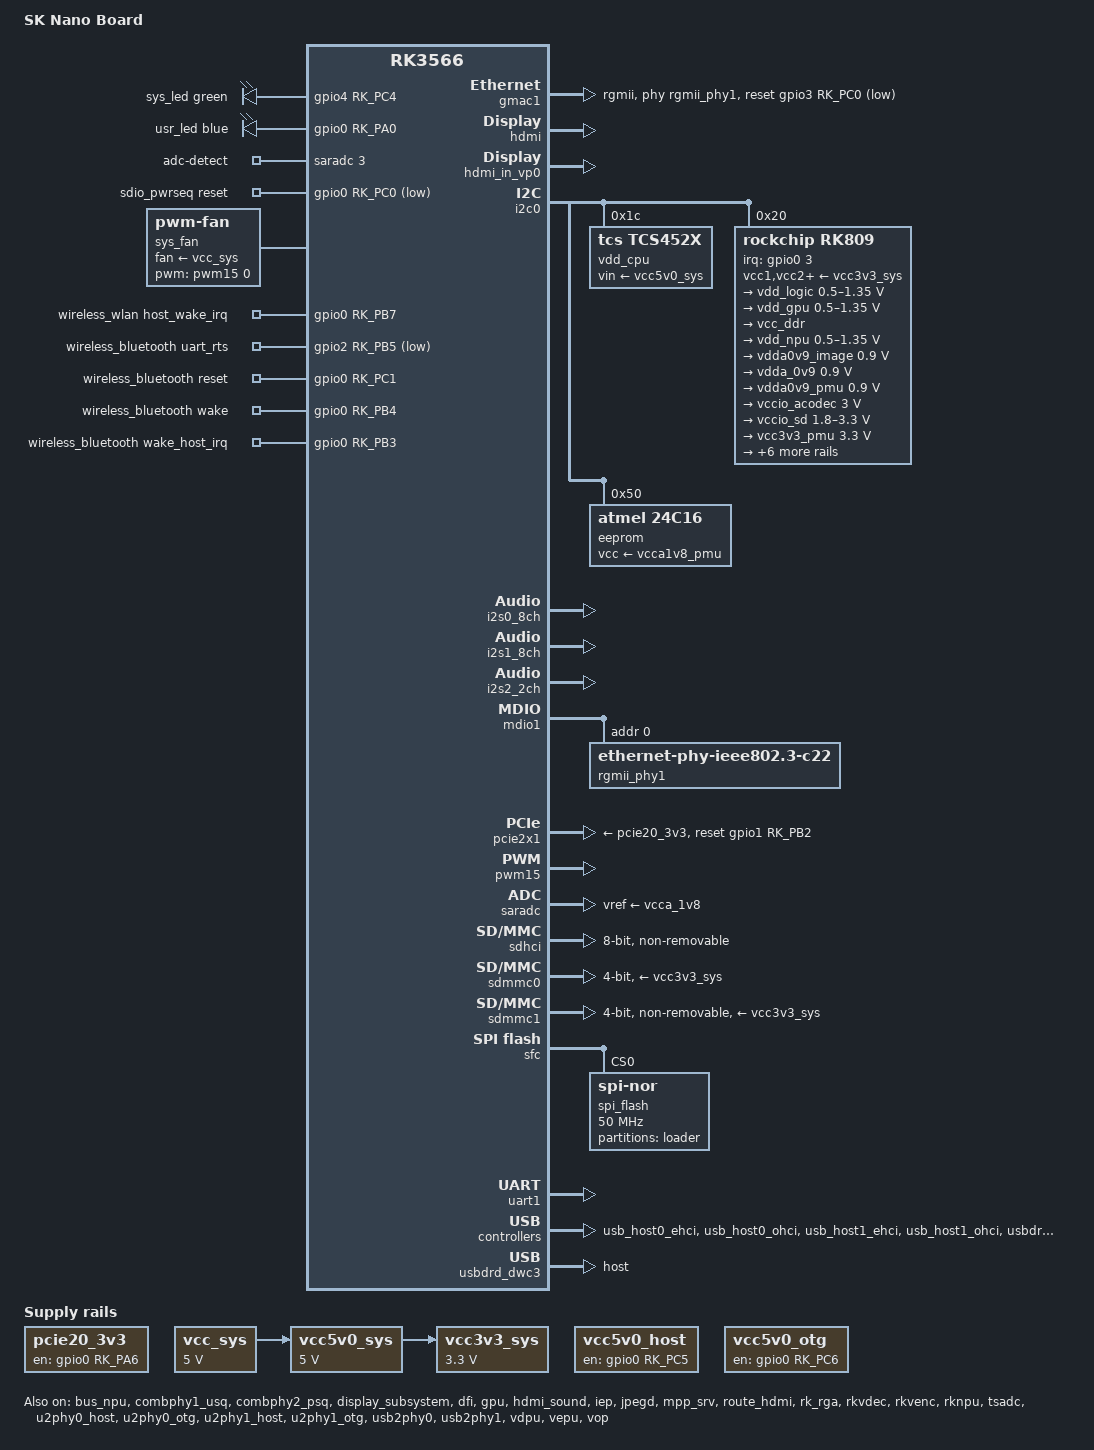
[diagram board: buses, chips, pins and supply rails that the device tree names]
// SPDX-License-Identifier: (GPL-2.0+ OR MIT)
/*
 * Copyright (c) 2020 Rockchip Electronics Co., Ltd.
 * Copyright (c) 2022 Radxa Limited.
 * Copyright (c) 2025 Sergey Kharenko
 */

/dts-v1/;
#include <dt-bindings/gpio/gpio.h>
#include <dt-bindings/pwm/pwm.h>
#include <dt-bindings/pinctrl/rockchip.h>
#include <dt-bindings/input/rk-input.h>
#include <dt-bindings/leds/common.h>
#include <dt-bindings/display/drm_mipi_dsi.h>
#include <dt-bindings/display/rockchip_vop.h>
#include <dt-bindings/sensor-dev.h>
#include "rk3566.dtsi"
#include "rk3568-linux.dtsi"

/ {
	model = "SK Nano Board";
	compatible = "sk,nano", "rockchip,rk3566";

	bt_sound: bt-sound {
        compatible = "simple-audio-card";
        simple-audio-card,format = "dsp_a";
        simple-audio-card,bitclock-inversion = <1>;
        simple-audio-card,mclk-fs = <256>;
        simple-audio-card,name = "rockchip,bt";
        simple-audio-card,cpu {
            sound-dai = <&i2s2_2ch>;
        };

        simple-audio-card,codec {
            sound-dai = <&bt_sco 1>;
        };
    };

    bt_sco: bt-sco {
        compatible = "linux,bt-sco";
        #sound-dai-cells = <1>;
        status = "okay";
    };

	chosen: chosen {
		bootargs = "earlycon=uart8250,mmio32,0xfe660000 console=ttyFIQ0 coherent_pool=1m irqchip.gicv3_pseudo_nmi=0";
	};

	gpio_leds: gpio-leds {
        status = "okay";
		compatible = "gpio-leds";

		sys_led: sys-led {
			gpios = <&gpio4 RK_PC4 GPIO_ACTIVE_HIGH>;
			function = LED_FUNCTION_HEARTBEAT;
			color = <LED_COLOR_ID_GREEN>;
			linux,default-trigger = "heartbeat";
			pinctrl-names = "default";
			pinctrl-0 = <&power_led>;
		};

		usr_led: usr-led {
			gpios = <&gpio0 RK_PA0 GPIO_ACTIVE_HIGH>;
			function = LED_FUNCTION_WLAN;
			color = <LED_COLOR_ID_BLUE>;
			linux,default-trigger = "mmc2";
			pinctrl-names = "default";
			pinctrl-0 = <&user_led2>;
		};
	};

	pcie20_3v3: pcie20-3v3-regulator {
		compatible = "regulator-fixed";
		enable-active-high;
		gpios = <&gpio0 RK_PA6 GPIO_ACTIVE_HIGH>;
		pinctrl-names = "default";
		pinctrl-0 = <&pcie20_3v3_en>;
		regulator-name = "pcie20_3v3";
		regulator-always-on;
		regulator-boot-on;
	};

	rk809_sound: rk809-sound {
		status = "okay";
		compatible = "simple-audio-card";
		simple-audio-card,format = "i2s";
		simple-audio-card,name = "rockchip-rk809";
		simple-audio-card,mclk-fs = <256>;
		io-channels = <&saradc 3>;
		io-channel-names = "adc-detect";

		simple-audio-card,cpu {
			sound-dai = <&i2s1_8ch>;
		};
		simple-audio-card,codec {
			sound-dai = <&rk809_codec>;
		};
	};

	sdio_pwrseq: sdio-pwrseq {
		compatible = "mmc-pwrseq-simple";
		pinctrl-names = "default";
		pinctrl-0 = <&wifi_poweren_gpio>;
		/*
		 * On the module itself this is one of these (depending
		 * on the actual card populated):
		 * - SDIO_RESET_L_WL_REG_ON
		 * - PDN (power down when low)
		 */
		reset-gpios = <&gpio0 RK_PC0 GPIO_ACTIVE_LOW>;
	};

	sys_fan: sys-fan {
		compatible = "pwm-fan";
		#cooling-cells = <2>;
		fan-supply = <&vcc_sys>;
		cooling-levels = <0 64 128 192 255>;
		pwms = <&pwm15 0 40000 0>;
	};

	vcc_sys: vcc-5v {
		compatible = "regulator-fixed";
		regulator-name = "vcc_sys";
		regulator-always-on;
		regulator-boot-on;
		regulator-min-microvolt = <5000000>;
		regulator-max-microvolt = <5000000>;
	};

	vcc3v3_sys: vcc3v3-sys {
		compatible = "regulator-fixed";
		regulator-name = "vcc3v3_sys";
		regulator-always-on;
		regulator-boot-on;
		regulator-min-microvolt = <3300000>;
		regulator-max-microvolt = <3300000>;
		vin-supply = <&vcc5v0_sys>;
	};

	vcc5v0_sys: vcc5v0-sys {
		compatible = "regulator-fixed";
		regulator-name = "vcc5v0_sys";
		regulator-always-on;
		regulator-boot-on;
		regulator-min-microvolt = <5000000>;
		regulator-max-microvolt = <5000000>;
		vin-supply = <&vcc_sys>;
	};

	vcc5v0_host: vcc5v0-host-regulator {
		compatible = "regulator-fixed";
		enable-active-high;
		gpio = <&gpio0 RK_PC5 GPIO_ACTIVE_HIGH>;
		pinctrl-names = "default";
		pinctrl-0 = <&vcc5v0_host_en>;
		regulator-name = "vcc5v0_host";
		regulator-always-on;
		regulator-boot-on;
	};

	vcc5v0_otg: vcc5v0-otg-regulator {
		compatible = "regulator-fixed";
		enable-active-high;
		gpio = <&gpio0 RK_PC6 GPIO_ACTIVE_HIGH>;
		pinctrl-names = "default";
		pinctrl-0 = <&vcc5v0_otg_en>;
		regulator-name = "vcc5v0_otg";
	};

	wireless_wlan: wireless-wlan {
		compatible = "wlan-platdata";
		clocks = <&rk809 1>;
		clock-names = "ext_clock";
		rockchip,grf = <&grf>;
		pinctrl-names = "default";
		pinctrl-0 = <&wifi_host_wake_irq>;
        WIFI,host_wake_irq = <&gpio0 RK_PB7 GPIO_ACTIVE_HIGH>;
		status = "okay";
	};

	wireless_bluetooth: wireless-bluetooth {
		compatible = "bluetooth-platdata";
		clocks = <&rk809 1>;
		clock-names = "ext_clock";
		uart_rts_gpios = <&gpio2 RK_PB5 GPIO_ACTIVE_LOW>;
		pinctrl-names = "default", "rts_gpio";
		pinctrl-0 = <&uart1m0_rtsn>, <&bt_gpio>;
		pinctrl-1 = <&uart1_gpios>;
		BT,reset_gpio    = <&gpio0 RK_PC1 GPIO_ACTIVE_HIGH>;
		BT,wake_gpio     = <&gpio0 RK_PB4 GPIO_ACTIVE_HIGH>;
		BT,wake_host_irq = <&gpio0 RK_PB3 GPIO_ACTIVE_HIGH>;
		status = "okay";
	};
};

&bus_npu {
	bus-supply = <&vdd_logic>;
	pvtm-supply = <&vdd_cpu>;
	status = "okay";
};

&combphy1_usq {
	status = "okay";
};

&combphy2_psq {
	status = "okay";
};

&cpu0 {
	cpu-supply = <&vdd_cpu>;
};

&cpu1 {
	cpu-supply = <&vdd_cpu>;
};

&cpu2 {
	cpu-supply = <&vdd_cpu>;
};

&cpu3 {
	cpu-supply = <&vdd_cpu>;
};

&display_subsystem {
	status = "okay";
};

&dfi {
	status = "okay";
};

&dmc {
	center-supply = <&vdd_logic>;
	status = "disabled";
};

&gmac1 {
	phy-mode = "rgmii";
	clock_in_out = "output";

	snps,reset-gpio = <&gpio3 RK_PC0 GPIO_ACTIVE_LOW>;
	snps,reset-active-low;
	/* Reset time is 20ms, 100ms for rtl8211f */
	snps,reset-delays-us = <0 20000 100000>;

	assigned-clocks = <&cru SCLK_GMAC1_RX_TX>, <&cru SCLK_GMAC1>;
	assigned-clock-parents = <&cru SCLK_GMAC1_RGMII_SPEED>;
	assigned-clock-rates = <0>, <125000000>;

	pinctrl-names = "default";
	pinctrl-0 = <&gmac1m1_miim
		     &gmac1m1_tx_bus2
		     &gmac1m1_rx_bus2
		     &gmac1m1_rgmii_clk
		     &gmac1m1_rgmii_bus>;

	tx_delay = <0x47>;
	rx_delay = <0x27>;

	phy-handle = <&rgmii_phy1>;
	status = "okay";
};

&gpu {
	mali-supply = <&vdd_gpu>;
	mem-supply = <&vdd_gpu>;
	status = "okay";
};

&hdmi {
	avdd-0v9-supply = <&vdda0v9_image>;
	avdd-1v8-supply = <&vcca1v8_image>;
	cec-enable = "true";
	status = "okay";
};

&hdmi_in_vp0 {
	status = "okay";
};

&hdmi_in_vp1 {
	status = "disabled";
};

&hdmi_sound {
	simple-audio-card,mclk-fs = <128>;
	simple-audio-card,name = "rockchip-hdmi";
	status = "okay";
};

&i2c0 {
	status = "okay";
	vdd_cpu: tcs4525@1c {
		compatible = "tcs,tcs452x";
		reg = <0x1c>;
		vin-supply = <&vcc5v0_sys>;
		regulator-compatible = "fan53555-reg";
		regulator-name = "vdd_cpu";
		regulator-min-microvolt = <712500>;
		regulator-max-microvolt = <1390000>;
		regulator-init-microvolt = <1000000>;
		regulator-ramp-delay = <2300>;
		fcs,suspend-voltage-selector = <1>;
		regulator-boot-on;
		regulator-always-on;
		regulator-state-mem {
			regulator-off-in-suspend;
		};
	};

	rk809: pmic@20 {
		compatible = "rockchip,rk809";
		reg = <0x20>;
		interrupt-parent = <&gpio0>;
		interrupts = <3 IRQ_TYPE_LEVEL_LOW>;

		pinctrl-names = "default", "pmic-sleep",
				"pmic-power-off", "pmic-reset";
		pinctrl-0 = <&pmic_int>;
		pinctrl-1 = <&soc_slppin_slp>, <&rk817_slppin_slp>;
		pinctrl-2 = <&soc_slppin_gpio>, <&rk817_slppin_pwrdn>;
		pinctrl-3 = <&soc_slppin_gpio>, <&rk817_slppin_rst>;

		rockchip,system-power-controller;
		wakeup-source;
		#clock-cells = <1>;
		clock-output-names = "rk808-clkout1", "rk808-clkout2";
		//fb-inner-reg-idxs = <2>;
		/* 1: rst regs (default in codes), 0: rst the pmic */
		pmic-reset-func = <0>;
		/* not save the PMIC_POWER_EN register in uboot */
		not-save-power-en = <1>;

		vcc1-supply = <&vcc3v3_sys>;
		vcc2-supply = <&vcc3v3_sys>;
		vcc3-supply = <&vcc3v3_sys>;
		vcc4-supply = <&vcc3v3_sys>;
		vcc5-supply = <&vcc3v3_sys>;
		vcc6-supply = <&vcc3v3_sys>;
		vcc7-supply = <&vcc3v3_sys>;
		vcc8-supply = <&vcc3v3_sys>;
		vcc9-supply = <&vcc3v3_sys>;

		pwrkey {
			status = "okay";
		};

		pinctrl_rk8xx: pinctrl_rk8xx {
			gpio-controller;
			#gpio-cells = <2>;

			rk817_slppin_null: rk817_slppin_null {
				pins = "gpio_slp";
				function = "pin_fun0";
			};

			rk817_slppin_slp: rk817_slppin_slp {
				pins = "gpio_slp";
				function = "pin_fun1";
			};

			rk817_slppin_pwrdn: rk817_slppin_pwrdn {
				pins = "gpio_slp";
				function = "pin_fun2";
			};

			rk817_slppin_rst: rk817_slppin_rst {
				pins = "gpio_slp";
				function = "pin_fun3";
			};
		};

		regulators {
			vdd_logic: DCDC_REG1 {
				regulator-always-on;
				regulator-boot-on;
				regulator-min-microvolt = <500000>;
				regulator-max-microvolt = <1350000>;
				regulator-init-microvolt = <900000>;
				regulator-ramp-delay = <6001>;
				regulator-initial-mode = <0x2>;
				regulator-name = "vdd_logic";
				regulator-state-mem {
					regulator-off-in-suspend;
				};
			};

			vdd_gpu: DCDC_REG2 {
				regulator-always-on;
				regulator-boot-on;
				regulator-min-microvolt = <500000>;
				regulator-max-microvolt = <1350000>;
				regulator-init-microvolt = <900000>;
				regulator-ramp-delay = <6001>;
				regulator-initial-mode = <0x2>;
				regulator-name = "vdd_gpu";
				regulator-state-mem {
					regulator-off-in-suspend;
				};
			};

			vcc_ddr: DCDC_REG3 {
				regulator-always-on;
				regulator-boot-on;
				regulator-initial-mode = <0x2>;
				regulator-name = "vcc_ddr";
				regulator-state-mem {
					regulator-on-in-suspend;
				};
			};

			vdd_npu: DCDC_REG4 {
				regulator-always-on;
				regulator-boot-on;
				regulator-min-microvolt = <500000>;
				regulator-max-microvolt = <1350000>;
				regulator-init-microvolt = <900000>;
				regulator-ramp-delay = <6001>;
				regulator-initial-mode = <0x2>;
				regulator-name = "vdd_npu";
				regulator-state-mem {
					regulator-off-in-suspend;
				};
			};

			vdda0v9_image: LDO_REG1 {
				regulator-boot-on;
				regulator-always-on;
				regulator-min-microvolt = <900000>;
				regulator-max-microvolt = <900000>;
				regulator-name = "vdda0v9_image";
				regulator-state-mem {
					regulator-off-in-suspend;
				};
			};

			vdda_0v9: LDO_REG2 {
				regulator-always-on;
				regulator-boot-on;
				regulator-min-microvolt = <900000>;
				regulator-max-microvolt = <900000>;
				regulator-name = "vdda_0v9";
				regulator-state-mem {
					regulator-off-in-suspend;
				};
			};

			vdda0v9_pmu: LDO_REG3 {
				regulator-always-on;
				regulator-boot-on;
				regulator-min-microvolt = <900000>;
				regulator-max-microvolt = <900000>;
				regulator-name = "vdda0v9_pmu";
				regulator-state-mem {
					regulator-on-in-suspend;
					regulator-suspend-microvolt = <900000>;
				};
			};

			vccio_acodec: LDO_REG4 {
				regulator-always-on;
				regulator-boot-on;
				regulator-min-microvolt = <3000000>;
				regulator-max-microvolt = <3000000>;
				regulator-name = "vccio_acodec";
				regulator-state-mem {
					regulator-off-in-suspend;
				};
			};

			vccio_sd: LDO_REG5 {
				regulator-always-on;
				regulator-boot-on;
				regulator-min-microvolt = <1800000>;
				regulator-max-microvolt = <3300000>;
				regulator-name = "vccio_sd";
				regulator-state-mem {
					regulator-off-in-suspend;
				};
			};

			vcc3v3_pmu: LDO_REG6 {
				regulator-always-on;
				regulator-boot-on;
				regulator-min-microvolt = <3300000>;
				regulator-max-microvolt = <3300000>;
				regulator-name = "vcc3v3_pmu";
				regulator-state-mem {
					regulator-on-in-suspend;
					regulator-suspend-microvolt = <3300000>;
				};
			};

			vcca_1v8: LDO_REG7 {
				regulator-always-on;
				regulator-boot-on;
				regulator-min-microvolt = <1800000>;
				regulator-max-microvolt = <1800000>;
				regulator-name = "vcca_1v8";
				regulator-state-mem {
					regulator-off-in-suspend;
				};
			};

			vcca1v8_pmu: LDO_REG8 {
				regulator-always-on;
				regulator-boot-on;
				regulator-min-microvolt = <1800000>;
				regulator-max-microvolt = <1800000>;
				regulator-name = "vcca1v8_pmu";
				regulator-state-mem {
					regulator-on-in-suspend;
					regulator-suspend-microvolt = <1800000>;
				};
			};

			vcca1v8_image: LDO_REG9 {
				regulator-always-on;
				regulator-boot-on;
				regulator-min-microvolt = <1800000>;
				regulator-max-microvolt = <1800000>;
				regulator-name = "vcca1v8_image";
				regulator-state-mem {
					regulator-off-in-suspend;
				};
			};

			vcc_1v8: DCDC_REG5 {
				regulator-always-on;
				regulator-boot-on;
				regulator-min-microvolt = <1800000>;
				regulator-max-microvolt = <1800000>;
				regulator-name = "vcc_1v8";
				regulator-state-mem {
					regulator-off-in-suspend;
				};
			};

			vcc_3v3: SWITCH_REG1 {
				regulator-always-on;
				regulator-boot-on;
				regulator-name = "vcc_3v3";
				regulator-state-mem {
					regulator-off-in-suspend;
				};
			};

			vcc3v3_sd: SWITCH_REG2 {
				regulator-always-on;
				regulator-boot-on;
				regulator-name = "vcc3v3_sd";
				regulator-state-mem {
					regulator-off-in-suspend;
				};
			};
		};

		rk809_codec: codec {
			#sound-dai-cells = <0>;
			compatible = "rockchip,rk809-codec", "rockchip,rk817-codec";
			clocks = <&cru I2S1_MCLKOUT>;
			clock-names = "mclk";
			assigned-clocks = <&cru I2S1_MCLKOUT>, <&cru I2S1_MCLK_TX_IOE>;
			assigned-clock-rates = <12288000>;
			assigned-clock-parents = <&cru I2S1_MCLKOUT_TX>, <&cru I2S1_MCLKOUT_TX>;
			pinctrl-names = "default";
			pinctrl-0 = <&i2s1m0_mclk>;
			hp-volume = <20>;
			spk-volume = <3>;
			mic-in-differential;
			status = "okay";
		};
	};

	eeprom:	at24c16@50 {
		status = "okay";
		compatible = "atmel,24c16";
		reg = <0x50>;
		pagesize = <16>;
		vcc-supply = <&vcca1v8_pmu>;
	};
};

dsi_i2c: &i2c3 {
	pinctrl-0 = <&i2c3m1_xfer>;
};

&i2s0_8ch {
	status = "okay";
};

&i2s1_8ch {
	status = "okay";
	rockchip,clk-trcm = <1>;
	pinctrl-names = "default";
	pinctrl-0 = <&i2s1m0_sclktx
		     &i2s1m0_lrcktx
		     &i2s1m0_sdi0
		     &i2s1m0_sdo0>;
};

&i2s2_2ch {
	status = "okay";
};

&iep {
	status = "okay";
};

&iep_mmu {
	status = "okay";
};

&jpegd {
	status = "okay";
};

&jpegd_mmu {
	status = "okay";
};

&lpddr4_params {
	freq_0 = <1056>;
};

&lpddr4x_params {
	freq_0 = <1056>;
};

&mdio1 {
	rgmii_phy1: phy@0 {
		compatible = "ethernet-phy-ieee802.3-c22";
		reg = <0x0>;
	};
};

&mpp_srv {
	status = "okay";
};

&pcie2x1 {
	reset-gpios = <&gpio1 RK_PB2 GPIO_ACTIVE_HIGH>;
	vpcie3v3-supply = <&pcie20_3v3>;
	pinctrl-0 = <&pcie20m2_pins>;
	status = "okay";
};

&pipegrf {
	compatible = "rockchip,rk3566-pipe-grf", "syscon";
};

&pmu_io_domains {
	status = "okay";
	pmuio2-supply = <&vcca1v8_pmu>;
	vccio1-supply = <&vccio_acodec>;
	vccio3-supply = <&vccio_sd>;
	vccio4-supply = <&vcca1v8_pmu>;
	vccio5-supply = <&vcc_3v3>;
	vccio6-supply = <&vcc_3v3>;
	vccio7-supply = <&vcc_3v3>;
};

&power {
	power-domain@RK3568_PD_PIPE {
		reg = <RK3568_PD_PIPE>;
		clocks = <&cru PCLK_PIPE>;
		pm_qos = <&qos_pcie2x1>,
			 <&qos_sata1>,
			 <&qos_sata2>,
			 <&qos_usb3_0>,
			 <&qos_usb3_1>;
		#power-domain-cells = <0>;
	};
};

&pwm15 {
	pinctrl-0 = <&pwm15m0_pins>;
	status = "okay";
};

&rkcif {
	status = "disabled";
};

&rkcif_mmu {
	status = "disabled";
};

&rkisp {
	status = "disabled";
	rockchip,iq-feature = /bits/ 64 <0x1BFBF7FE67FF>;
};

&rkisp_mmu {
	status = "disabled";
};

&route_hdmi {
	connect = <&vp0_out_hdmi>;
	status = "okay";
};

&rk_rga {
	status = "okay";
};

&rkvdec {
	status = "okay";
};

&rkvdec_mmu {
	status = "okay";
};

&rkvenc {
	venc-supply = <&vdd_logic>;
	status = "okay";
};

&rkvenc_mmu {
	status = "okay";
};

&rknpu {
	rknpu-supply = <&vdd_npu>;
	mem-supply = <&vdd_npu>;
	status = "okay";
};

&rknpu_mmu {
	status = "okay";
};

&rockchip_suspend {
	status = "okay";
	rockchip,sleep-debug-en = <1>;
	rockchip,sleep-mode-config = <
		(0
		| RKPM_SLP_CENTER_OFF
		| RKPM_SLP_HW_PLLS_OFF
		| RKPM_SLP_PMUALIVE_32K
		| RKPM_SLP_32K_PVTM
		)
	>;
	rockchip,wakeup-config = <
		(0
		| RKPM_GPIO_WKUP_EN
		| RKPM_USB_WKUP_EN
		)
	>;
};

&saradc {
	status = "okay";
	vref-supply = <&vcca_1v8>;
};

&sdhci {
	bus-width = <8>;
	supports-emmc;
	non-removable;
	max-frequency = <200000000>;
};

&sdmmc0 {
	max-frequency = <150000000>;
	supports-sd;
	no-sdio;
	no-mmc;
	bus-width = <4>;
	cap-mmc-highspeed;
	cap-sd-highspeed;
	disable-wp;
	num-slots = <1>;
	sd-uhs-sdr104;
	vmmc-supply = <&vcc3v3_sys>;
	vqmmc-supply = <&vccio_sd>;
	pinctrl-names = "default";
	pinctrl-0 = <&sdmmc0_bus4 &sdmmc0_clk &sdmmc0_cmd &sdmmc0_det>;
	status = "okay";
};

&sdmmc1 {
	supports-sdio;
	bus-width = <4>;
	disable-wp;
	cap-sd-highspeed;
	cap-sdio-irq;
	keep-power-in-suspend;
	non-removable;
	rockchip,default-sample-phase=<180>;
	mmc-pwrseq = <&sdio_pwrseq>;
	vmmc-supply = <&vcc3v3_sys>;
	vqmmc-supply = <&vcca1v8_pmu>;
	pinctrl-names = "default";
	pinctrl-0 = <&sdmmc1_bus4 &sdmmc1_cmd &sdmmc1_clk>;
	sd-uhs-sdr104;
	status = "okay";
};

&sfc {
	status = "okay";
	max-freq = <50000000>;
	#address-cells = <1>;
	#size-cells = <0>;
	pinctrl-names = "default";
	pinctrl-0 = <&fspi_pins>;

	spi_flash: spi-flash@0 {
		#address-cells = <1>;
		#size-cells = <0>;
		compatible = "jedec,spi-nor";
		reg = <0x0>;
		spi-max-frequency = <50000000>;
		spi-tx-bus-width = <1>;
		spi-rx-bus-width = <4>;
		status = "okay";

		partitions {
			compatible = "fixed-partitions";
			#address-cells = <1>;
			#size-cells = <1>;
			loader@0 {
				label = "loader";
				reg = <0x0 0x1000000>;
			};
		};
	};
};

&soc_thermal {
	trips {
		fan_threshold0: fan-point0 {
			temperature = <35000>;
			hysteresis = <2000>;
			type = "active";
		};
		fan_threshold1: fan-point1 {
			temperature = <45000>;
			hysteresis = <2000>;
			type = "active";
		};
		fan_threshold2: fan-point2 {
			temperature = <55000>;
			hysteresis = <2000>;
			type = "active";
		};
		fan_threshold3: fan-point3 {
			temperature = <65000>;
			hysteresis = <2000>;
			type = "active";
		};
	};

	cooling-maps {
		map2 {
			trip = <&fan_threshold0>;
			cooling-device = <&sys_fan 1 1>;
			contribution = <2048>;
		};
		map3 {
			trip = <&fan_threshold1>;
			cooling-device = <&sys_fan 2 2>;
			contribution = <2048>;
		};
		map4 {
			trip = <&fan_threshold2>;
			cooling-device = <&sys_fan 3 3>;
			contribution = <2048>;
		};
		map5 {
			trip = <&fan_threshold3>;
			cooling-device = <&sys_fan 4 4>;
			contribution = <2048>;
		};
	};
};

&tsadc {
	status = "okay";
};

&uart1 {
	status = "okay";
	pinctrl-names = "default";
	pinctrl-0 = <&uart1m0_xfer &uart1m0_ctsn>;
};

&u2phy0_host {
	phy-supply = <&vcc5v0_host>;
	status = "okay";
};

&u2phy0_otg {
	vbus-supply = <&vcc5v0_otg>;
	status = "okay";
};

&u2phy1_host {
	phy-supply = <&vcc5v0_host>;
	status = "okay";
};

&u2phy1_otg {
	phy-supply = <&vcc5v0_host>;
	status = "okay";
};

&usb2phy0 {
	status = "okay";
	pinctrl-names = "default";
};

&usb2phy1 {
	status = "okay";
};

&usb_host0_ehci {
	status = "okay";
};

&usb_host0_ohci {
	status = "okay";
};

&usb_host1_ehci {
	status = "okay";
};

&usb_host1_ohci {
	status = "okay";
};

&usbdrd_dwc3 {
	dr_mode = "host";
	status = "okay";
};

&usbdrd30 {
	status = "okay";
};

&usbhost_dwc3 {
	status = "okay";
};

&usbhost30 {
	status = "okay";
};

&vdpu {
	status = "okay";
};

&vdpu_mmu {
	status = "okay";
};

&vepu {
	status = "okay";
};

&vepu_mmu {
	status = "okay";
};

&vop {
	status = "okay";
	vop-supply = <&vdd_logic>;
	assigned-clocks = <&cru DCLK_VOP0>, <&cru DCLK_VOP1>, <&cru DCLK_VOP2>;
	assigned-clock-parents = <&pmucru PLL_HPLL>, <&cru PLL_VPLL>, <&cru PLL_GPLL>;
	support-multi-area;
	disable-win-move;
};

&vop_mmu {
	status = "okay";
};

&vp0 {
	rockchip,plane-mask = <(1 << ROCKCHIP_VOP2_CLUSTER0 | 1 << ROCKCHIP_VOP2_ESMART0)>;
	rockchip,primary-plane = <ROCKCHIP_VOP2_CLUSTER0>;
};

&vp1 {
	rockchip,plane-mask = <(1 << ROCKCHIP_VOP2_ESMART0 | 1 << ROCKCHIP_VOP2_SMART0)>;
	rockchip,primary-plane = <ROCKCHIP_VOP2_ESMART0>;
};

&vp2 {
	rockchip,plane-mask = <(1 << ROCKCHIP_VOP2_SMART0)>;
	rockchip,primary-plane = <ROCKCHIP_VOP2_SMART0>;
};

&pinctrl {
	leds {
		power_led: power-led {
			rockchip,pins = <4 RK_PC4 RK_FUNC_GPIO &pcfg_pull_none>;
		};

		user_led2: user-led2 {
			rockchip,pins = <0 RK_PA0 RK_FUNC_GPIO &pcfg_pull_none>;
		};
	};

	pcie {
		pcie20_3v3_en: pcie20-3v3-en {
			rockchip,pins = <0 RK_PA6 RK_FUNC_GPIO &pcfg_pull_none>;
		};
	};

	pmic {
		pmic_int: pmic_int {
			rockchip,pins =
				<0 RK_PA3 RK_FUNC_GPIO &pcfg_pull_up>;
		};

		soc_slppin_gpio: soc_slppin_gpio {
			rockchip,pins =
				<0 RK_PA2 RK_FUNC_GPIO &pcfg_output_low_pull_down>;
		};

		soc_slppin_slp: soc_slppin_slp {
			rockchip,pins =
				<0 RK_PA2 1 &pcfg_pull_up>;
		};

		soc_slppin_rst: soc_slppin_rst {
			rockchip,pins =
				<0 RK_PA2 2 &pcfg_pull_none>;
		};
	};

	usb {
		vcc5v0_host_en: vcc5v0-host-en {
			rockchip,pins = <0 RK_PC5 RK_FUNC_GPIO &pcfg_pull_none>;
		};

		vcc5v0_otg_en: vcc5v0-otg-en {
			rockchip,pins = <0 RK_PC6 RK_FUNC_GPIO &pcfg_pull_none>;
		};
	};

	wireless-wlan {
		wifi_host_wake_irq: wifi-host-wake-irq {
			rockchip,pins = <0 RK_PB7 RK_FUNC_GPIO &pcfg_pull_down>;
		};

		wifi_poweren_gpio: wifi-poweren-gpio {
			rockchip,pins = <0 RK_PC0 RK_FUNC_GPIO &pcfg_pull_down>;
		};
	};

	wireless-bluetooth {
		uart1_gpios: uart1-gpios {
			rockchip,pins = <2 RK_PB5 RK_FUNC_GPIO &pcfg_pull_none>;
		};

		bt_gpio: bt-gpio {
			rockchip,pins =
				<0 RK_PB3 RK_FUNC_GPIO &pcfg_pull_up>,
				<0 RK_PB4 RK_FUNC_GPIO &pcfg_pull_up>,
				<0 RK_PC1 RK_FUNC_GPIO &pcfg_pull_down>;
		};
	};
};
